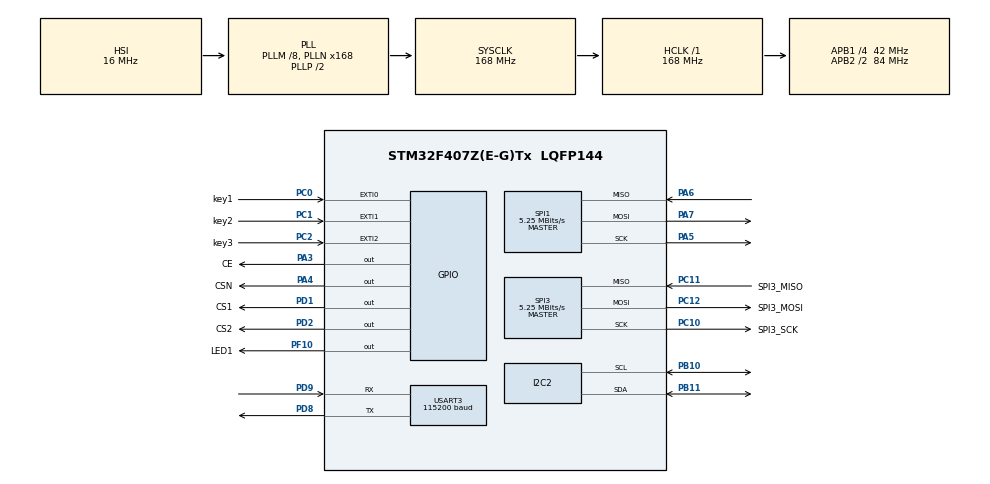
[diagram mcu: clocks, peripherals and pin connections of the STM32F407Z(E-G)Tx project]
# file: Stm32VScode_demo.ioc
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Dma.Request0=USART3_TX
Dma.USART3_TX.0.Direction=DMA_MEMORY_TO_PERIPH
Dma.USART3_TX.0.FIFOMode=DMA_FIFOMODE_DISABLE
Dma.USART3_TX.0.Instance=DMA1_Stream3
Dma.USART3_TX.0.MemDataAlignment=DMA_MDATAALIGN_BYTE
Dma.USART3_TX.0.MemInc=DMA_MINC_ENABLE
Dma.USART3_TX.0.Mode=DMA_NORMAL
Dma.USART3_TX.0.PeriphDataAlignment=DMA_PDATAALIGN_BYTE
Dma.USART3_TX.0.PeriphInc=DMA_PINC_DISABLE
Dma.USART3_TX.0.Priority=DMA_PRIORITY_HIGH
I2C2.I2C_Mode=I2C_Fast
Mcu.Family=STM32F4
Mcu.Name=STM32F407Z(E-G)Tx
Mcu.Package=LQFP144
NVIC.DMA1_Stream3_IRQn=true\:0\:0\:false\:false\:true\:false\:true\:true
NVIC.EXTI0_IRQn=true\:1\:0\:true\:false\:true\:true\:true\:true
NVIC.EXTI1_IRQn=true\:1\:0\:true\:false\:true\:true\:true\:true
NVIC.EXTI2_IRQn=true\:1\:0\:true\:false\:true\:true\:true\:true
NVIC.PriorityGroup=NVIC_PRIORITYGROUP_4
NVIC.TIM5_IRQn=true\:0\:0\:true\:false\:true\:true\:true\:true
NVIC.USART3_IRQn=true\:0\:0\:false\:false\:true\:true\:true\:true
PA13.Mode=Serial_Wire
PA13.Signal=SYS_JTMS-SWDIO
PA14.Mode=Serial_Wire
PA14.Signal=SYS_JTCK-SWCLK
PA3.GPIO_Label=CE
PA3.GPIO_Speed=GPIO_SPEED_FREQ_MEDIUM
PA3.PinState=GPIO_PIN_RESET
PA3.Signal=GPIO_Output
PA4.GPIO_Label=CSN
PA4.GPIO_Speed=GPIO_SPEED_FREQ_MEDIUM
PA4.Signal=GPIO_Output
PA5.Mode=Full_Duplex_Master
PA5.Signal=SPI1_SCK
PA6.Mode=Full_Duplex_Master
PA6.Signal=SPI1_MISO
PA7.Mode=Full_Duplex_Master
PA7.Signal=SPI1_MOSI
PB10.GPIO_Pu=GPIO_PULLUP
PB10.Mode=I2C
PB10.Signal=I2C2_SCL
PB11.GPIO_Pu=GPIO_PULLUP
PB11.Mode=I2C
PB11.Signal=I2C2_SDA
PC0.GPIO_Label=key1
PC0.GPIO_ModeDefaultEXTI=GPIO_MODE_IT_FALLING
PC0.GPIO_PuPd=GPIO_PULLUP
PC0.Signal=GPXTI0
PC1.GPIO_Label=key2
PC1.GPIO_ModeDefaultEXTI=GPIO_MODE_IT_FALLING
PC1.GPIO_PuPd=GPIO_PULLUP
PC1.Signal=GPXTI1
PC10.GPIO_Label=SPI3_SCK
PC10.GPIO_Speed=GPIO_SPEED_FREQ_VERY_HIGH
PC10.Mode=Full_Duplex_Master
PC10.Signal=SPI3_SCK
PC11.GPIO_Label=SPI3_MISO
PC11.GPIO_PuPd=GPIO_PULLDOWN
PC11.Mode=Full_Duplex_Master
PC11.Signal=SPI3_MISO
PC12.GPIO_Label=SPI3_MOSI
PC12.Mode=Full_Duplex_Master
PC12.Signal=SPI3_MOSI
PC2.GPIO_Label=key3
PC2.GPIO_ModeDefaultEXTI=GPIO_MODE_IT_FALLING
PC2.GPIO_PuPd=GPIO_PULLUP
PC2.Signal=GPXTI2
PD1.GPIO_Label=CS1
PD1.GPIO_ModeDefaultOutputPP=GPIO_MODE_OUTPUT_PP
PD1.GPIO_Speed=GPIO_SPEED_FREQ_VERY_HIGH
PD1.PinState=GPIO_PIN_SET
PD1.Signal=GPIO_Output
PD2.GPIO_Label=CS2
PD2.GPIO_ModeDefaultOutputPP=GPIO_MODE_OUTPUT_PP
PD2.GPIO_PuPd=GPIO_NOPULL
PD2.GPIO_Speed=GPIO_SPEED_FREQ_VERY_HIGH
PD2.PinState=GPIO_PIN_SET
PD2.Signal=GPIO_Output
PD8.GPIO_PuPd=GPIO_PULLUP
PD8.Mode=Asynchronous
PD8.Signal=USART3_TX
PD9.GPIO_PuPd=GPIO_PULLUP
PD9.Mode=Asynchronous
PD9.Signal=USART3_RX
PF10.GPIO_Label=LED1
PF10.GPIO_Speed=GPIO_SPEED_FREQ_MEDIUM
PF10.Signal=GPIO_Output
PH0-OSC_IN.Mode=HSE-External-Oscillator
PH0-OSC_IN.Signal=RCC_OSC_IN
PH1-OSC_OUT.Mode=HSE-External-Oscillator
PH1-OSC_OUT.Signal=RCC_OSC_OUT
ProjectManager.HeapSize=0x200
ProjectManager.StackSize=0x400
ProjectManager.TargetToolchain=CMake
RCC.48MHZClocksFreq_Value=84000000
RCC.AHBFreq_Value=168000000
RCC.APB1CLKDivider=RCC_HCLK_DIV4
RCC.APB1Freq_Value=42000000
RCC.APB1TimFreq_Value=84000000
RCC.APB2CLKDivider=RCC_HCLK_DIV2
RCC.APB2Freq_Value=84000000
RCC.APB2TimFreq_Value=168000000
RCC.CortexFreq_Value=168000000
RCC.HCLKFreq_Value=168000000
RCC.HSE_VALUE=8000000
RCC.HSI_VALUE=16000000
RCC.LSE_VALUE=32768
RCC.PLLM=8
RCC.PLLN=168
RCC.SYSCLKFreq_VALUE=168000000
RCC.SYSCLKSource=RCC_SYSCLKSOURCE_PLLCLK
RCC.VCOOutputFreq_Value=336000000
SPI1.BaudRatePrescaler=SPI_BAUDRATEPRESCALER_16
SPI1.CalculateBaudRate=5.25 MBits/s
SPI1.Direction=SPI_DIRECTION_2LINES
SPI1.Mode=SPI_MODE_MASTER
SPI1.VirtualType=VM_MASTER
SPI3.BaudRatePrescaler=SPI_BAUDRATEPRESCALER_8
SPI3.CalculateBaudRate=5.25 MBits/s
SPI3.Direction=SPI_DIRECTION_2LINES
SPI3.Mode=SPI_MODE_MASTER
SPI3.VirtualType=VM_MASTER
TIM5.AutoReloadPreload=TIM_AUTORELOAD_PRELOAD_ENABLE
TIM5.Period=999
TIM5.Prescaler=83
USART3.BaudRate=115200
USART3.VirtualMode=VM_ASYNC
VP_TIM5_VS_ClockSourceINT.Mode=Internal
board=custom

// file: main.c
/* USER CODE BEGIN Header */
/**
  ******************************************************************************
  * @file           : main.c
  * @brief          : Main program body
  ******************************************************************************
  * @attention
  *
  * Copyright (c) 2026 STMicroelectronics.
  * All rights reserved.
  *
  * This software is licensed under terms that can be found in the LICENSE file
  * in the root directory of this software component.
  * If no LICENSE file comes with this software, it is provided AS-IS.
  *
  ******************************************************************************
  */
/* USER CODE END Header */
#include "main.h"
#include "dma.h"
#include "i2c.h"
#include "spi.h"
#include "tim.h"
#include "usart.h"
#include "gpio.h"

/* USER CODE BEGIN Includes */
#include <math.h>
#include <stdint.h>
#include <stdio.h>
#include <stdlib.h>
#include <string.h>
#include "oled.h"
#include "bmp.h"
#include "mahony_filter.h"
#include "NRF24L01.h"
/* USER CODE END Includes */

/* USER CODE BEGIN PV */
extern int tim; //定时中断测试代码
extern float isr_time_us;       // ISR 耗时 (微秒) /*四元数mahony算法运行时间测试变量*/
extern uint32_t isr_max_cycles; // ISR 最大周期数  /*四元数mahony算法运行时间测试变量*/

uint8_t usart3_rx_byte;  // 串口三接收到的字符
extern volatile uint8_t usart3_cmd_flag;  // 串口三命令标志

char nrf_buf[32];        // OLED 显示用缓冲区

float pitch, roll, yaw;  // Mahony 解算输出（弧度，主循环内经 Get_Angle 转角度）
// int32_t mx_i, my_i, mz_i;//磁力计原始adc值的变量
// extern Vector3f omega_corrected;//纠正后的omega
volatile uint8_t key_flag[4] = {0};  // [0]不用, [1]=PC0, [2]=PC1, [3]=PC2
/* USER CODE END PV */

void SystemClock_Config(void);

int main(void)
{

  /* MCU Configuration--------------------------------------------------------*/

  /* Reset of all peripherals, Initializes the Flash interface and the Systick. */
  HAL_Init();

  /* Configure the system clock */
  SystemClock_Config();

  /* Initialize all configured peripherals */
  MX_GPIO_Init();
  MX_DMA_Init();
  MX_I2C2_Init();
  MX_USART3_UART_Init();
  MX_SPI3_Init();
  MX_TIM5_Init();
  MX_SPI1_Init();
  /* USER CODE BEGIN 2 */
  OLED_Init();
  OLED_Clear();

  // 冷启动时 ICM42688 需要足够时间完成上电初始化
  HAL_Delay(600);
  IMU_Init();                              // 初始化 ICM42688 + MMC5983

  HAL_TIM_Base_Start_IT(&htim5);   // start TIM5 1kHz Mahony interrupt
  HAL_UART_Receive_IT(&huart3, &usart3_rx_byte, 1);  // 蓝牙串口三启动单字节中断接收
  NRF24L01_Init();

  /* USER CODE END 2 */

  /* Infinite loop */
  /* USER CODE BEGIN WHILE */
  while (1)
  {

      /*陀螺仪ICM42688*/
    //串口打印原始数据
    // Print_initialvalue();
    //读取磁力计原始数据无校准归一化
    // Mag_ReadData(&mx_i, &my_i, &mz_i);
    // printf("Mag: %d %d %d\r\n", mx_i, my_i, mz_i);

  // //printf("\n\naccel_norm: accelx: %.3f,accely: %.3f,accelz: %.3f",f_ax,f_ay,f_az);
  // //printf("\n\nmag_norm: magx: %.3f,magy: %.3f,magz: %.3f",f_mx,f_my,f_mz);
  // //printf("%.3f, %.3f, %.3f\n", omega_corrected.x, omega_corrected.y, omega_corrected.z);

     //printf("ISR: %.1f us, max: %lu cycles\n", isr_time_us, isr_max_cycles);/*四元数mahony算法运行时间测试语句*/

  /*打印mahony滤波融合以后的角度值*/
  // 先快照再转换，避免显示/打印过程中被 1kHz 中断刷新
  float p = pitch, r = roll, y = yaw;
  Get_Angle(&p, &r, &y);
  printf("%.3f, %.3f, %.3f\n", p, r, y);

  // OLED 显示 Mahony 解算角度（p/r/y 为角度值）
  sprintf(nrf_buf, "pitch:%6.1f", p);
  OLED_ShowString(L_X1, H_Y2, (uint8_t *)nrf_buf, 16, 1);
  sprintf(nrf_buf, "roll:%6.1f", r);
  OLED_ShowString(L_X1, H_Y3, (uint8_t *)nrf_buf, 16, 1);
  sprintf(nrf_buf, "yaw:%6.1f", y);
  OLED_ShowString(L_X1, H_Y4, (uint8_t *)nrf_buf, 16, 1);

  // 运行时间显示（右上角，沿用原布局）
  char time_buf[16];
  sprintf(time_buf, "time:%02ds", (int)(tim / 1000));
  OLED_ShowString(L_X5, H_Y1, (uint8_t *)time_buf, 16, 1);

  OLED_Refresh();

    /* USER CODE END WHILE */

  }
}

void SystemClock_Config(void)
{
  RCC_OscInitTypeDef RCC_OscInitStruct = {0};
  RCC_ClkInitTypeDef RCC_ClkInitStruct = {0};

  /** Configure the main internal regulator output voltage
  */
  __HAL_RCC_PWR_CLK_ENABLE();
  __HAL_PWR_VOLTAGESCALING_CONFIG(PWR_REGULATOR_VOLTAGE_SCALE1);

  /** Initializes the RCC Oscillators according to the specified parameters
  * in the RCC_OscInitTypeDef structure.
  */
  RCC_OscInitStruct.OscillatorType = RCC_OSCILLATORTYPE_HSI;
  RCC_OscInitStruct.HSIState = RCC_HSI_ON;
  RCC_OscInitStruct.HSICalibrationValue = RCC_HSICALIBRATION_DEFAULT;
  RCC_OscInitStruct.PLL.PLLState = RCC_PLL_ON;
  RCC_OscInitStruct.PLL.PLLSource = RCC_PLLSOURCE_HSI;
  RCC_OscInitStruct.PLL.PLLM = 8;
  RCC_OscInitStruct.PLL.PLLN = 168;
  RCC_OscInitStruct.PLL.PLLP = RCC_PLLP_DIV2;
  RCC_OscInitStruct.PLL.PLLQ = 4;
  if (HAL_RCC_OscConfig(&RCC_OscInitStruct) != HAL_OK)
  {
    Error_Handler();
  }

  /** Initializes the CPU, AHB and APB buses clocks
  */
  RCC_ClkInitStruct.ClockType = RCC_CLOCKTYPE_HCLK|RCC_CLOCKTYPE_SYSCLK
                              |RCC_CLOCKTYPE_PCLK1|RCC_CLOCKTYPE_PCLK2;
  RCC_ClkInitStruct.SYSCLKSource = RCC_SYSCLKSOURCE_PLLCLK;
  RCC_ClkInitStruct.AHBCLKDivider = RCC_SYSCLK_DIV1;
  RCC_ClkInitStruct.APB1CLKDivider = RCC_HCLK_DIV4;
  RCC_ClkInitStruct.APB2CLKDivider = RCC_HCLK_DIV2;

  if (HAL_RCC_ClockConfig(&RCC_ClkInitStruct, FLASH_LATENCY_5) != HAL_OK)
  {
    Error_Handler();
  }
}

/* USER CODE BEGIN 4 */
void HAL_GPIO_EXTI_Callback(uint16_t GPIO_Pin)//按键中断
{
    /* 只设标志，不延迟不printf */
    if     (GPIO_Pin == GPIO_PIN_0) key_flag[1] = 1;
    else if(GPIO_Pin == GPIO_PIN_1) key_flag[2] = 1;
    else if(GPIO_Pin == GPIO_PIN_2) key_flag[3] = 1;
}

void HAL_UART_RxCpltCallback(UART_HandleTypeDef *huart)
{
    if (huart->Instance == USART3)
    {
        HAL_UART_Receive_IT(&huart3, &usart3_rx_byte, 1);  // 重新使能单字节接收
    }
}
/* USER CODE END 4 */

void Error_Handler(void)
{
  __disable_irq();
  while (1)
  {
  }
}
